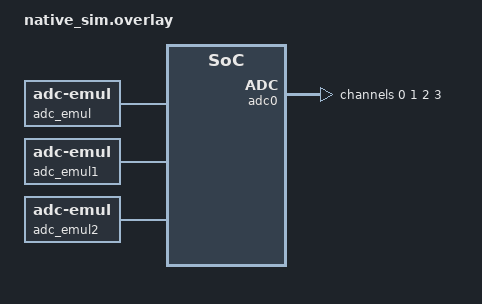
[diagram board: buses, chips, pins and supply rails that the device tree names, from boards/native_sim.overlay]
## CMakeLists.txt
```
cmake_minimum_required(VERSION 3.20.0)

set(RT_CORE_TEST_ADC_EMUL ON)
include(${CMAKE_CURRENT_SOURCE_DIR}/../../../rt_core_test.cmake)

find_package(Zephyr REQUIRED HINTS $ENV{ZEPHYR_BASE})
project(functional_subsys_adc)

file(GLOB_RECURSE TEST_SOURCES src/*.c src/*.cpp)

target_sources(app PRIVATE ${TEST_SOURCES})
```

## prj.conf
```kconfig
CONFIG_ZTEST=y

# Language and Compiler
CONFIG_CPP=y
CONFIG_PICOLIBC=y
CONFIG_STD_CPP23=y
CONFIG_REQUIRES_FULL_LIBCPP=y
CONFIG_CPP_EXCEPTIONS=y
CONFIG_CPP_RTTI=y

# Logging And Debugging
CONFIG_THREAD_ANALYZER=y
CONFIG_THREAD_NAME=y
CONFIG_SYS_HEAP_RUNTIME_STATS=y
CONFIG_TIMING_FUNCTIONS=y

# Memory
CONFIG_HEAP_MEM_POOL_SIZE=100000

# C++ exception unwinding needs considerably more stack than the ztest defaults.
CONFIG_MAIN_STACK_SIZE=8192
CONFIG_ZTEST_STACK_SIZE=8192

# Logging And Debugging
CONFIG_LOG=y

# Random Number Generator
CONFIG_TEST_RANDOM_GENERATOR=y
CONFIG_TIMER_RANDOM_GENERATOR=y

# Hardware
CONFIG_ADC=y

CONFIG_EERIE_LEAP_RT_CORE=y
CONFIG_EERIE_LEAP_CONFIGURATION=y
CONFIG_EERIE_LEAP_ADC=y
CONFIG_EERIE_LEAP_DEVICE_TREE=y
```

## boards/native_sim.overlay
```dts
/ {
	aliases {
		adc0 = &adc_emul;
		adc1 = &adc_emul1;
		adc2 = &adc_emul2;
	};

	adc_emul: adc {
		compatible = "zephyr,adc-emul";
		nchannels = <4>;
		ref-internal-mv = <3300>;
		ref-external1-mv = <5000>;
		#io-channel-cells = <1>;
		status = "okay";
	};

	adc_emul1: adc1 {
		compatible = "zephyr,adc-emul";
		nchannels = <2>;
		ref-internal-mv = <3300>;
		ref-external1-mv = <5000>;
		#io-channel-cells = <1>;
		status = "okay";
	};

	/* Its only channel states no resolution, so Initialize() must reject this device. */
	adc_emul2: adc2 {
		compatible = "zephyr,adc-emul";
		nchannels = <1>;
		ref-internal-mv = <3300>;
		ref-external1-mv = <5000>;
		#io-channel-cells = <1>;
		status = "okay";
	};
};

&adc0 {
	#address-cells = <1>;
	#size-cells = <0>;

	channel@0 {
		reg = <0>;
		zephyr,gain = "ADC_GAIN_1";
		zephyr,reference = "ADC_REF_INTERNAL";
		zephyr,vref-mv = <3300>;
		zephyr,acquisition-time = <ADC_ACQ_TIME_DEFAULT>;
		zephyr,resolution = <12>;
	};

	channel@1 {
		reg = <1>;
		zephyr,gain = "ADC_GAIN_1";
		zephyr,reference = "ADC_REF_INTERNAL";
		zephyr,vref-mv = <3300>;
		zephyr,acquisition-time = <ADC_ACQ_TIME_DEFAULT>;
		zephyr,resolution = <12>;
	};

	channel@2 {
		reg = <2>;
		zephyr,gain = "ADC_GAIN_1";
		zephyr,reference = "ADC_REF_INTERNAL";
		zephyr,vref-mv = <3300>;
		zephyr,acquisition-time = <ADC_ACQ_TIME_DEFAULT>;
		zephyr,resolution = <12>;
	};

	channel@3 {
		reg = <3>;
		zephyr,gain = "ADC_GAIN_1";
		zephyr,reference = "ADC_REF_INTERNAL";
		zephyr,vref-mv = <3300>;
		zephyr,acquisition-time = <ADC_ACQ_TIME_DEFAULT>;
		zephyr,resolution = <12>;
	};
};

&adc_emul1 {
	#address-cells = <1>;
	#size-cells = <0>;

	channel@0 {
		reg = <0>;
		zephyr,gain = "ADC_GAIN_1";
		zephyr,reference = "ADC_REF_INTERNAL";
		zephyr,vref-mv = <3300>;
		zephyr,acquisition-time = <ADC_ACQ_TIME_DEFAULT>;
		zephyr,resolution = <12>;
	};

	channel@1 {
		reg = <1>;
		zephyr,gain = "ADC_GAIN_1";
		zephyr,reference = "ADC_REF_INTERNAL";
		zephyr,vref-mv = <3300>;
		zephyr,acquisition-time = <ADC_ACQ_TIME_DEFAULT>;
		zephyr,resolution = <12>;
	};
};

&adc_emul2 {
	#address-cells = <1>;
	#size-cells = <0>;

	channel@0 {
		reg = <0>;
		zephyr,gain = "ADC_GAIN_1";
		zephyr,reference = "ADC_REF_INTERNAL";
		zephyr,vref-mv = <3300>;
		zephyr,acquisition-time = <ADC_ACQ_TIME_DEFAULT>;
	};
};
```

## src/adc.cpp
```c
#include <cerrno>
#include <memory>
#include <optional>
#include <unordered_set>
#include <zephyr/drivers/adc/adc_emul.h>
#include <zephyr/kernel.h>
#include <zephyr/ztest.h>

#include "subsys/adc/adc_emulator.h"
#include "subsys/device_tree/dt_adc.h"

#include "emulator_support.h"

using namespace eerie_leap::subsys::device_tree;
using namespace eerie_leap::subsys::adc;
using namespace emulator_support;

namespace {

constexpr AdcCapabilities NO_CAPABILITIES{ .burst = false, .multi_channel = false, .us_per_conversion = 0 };
constexpr AdcCapabilities BURST_ONLY{ .burst = true, .multi_channel = false, .us_per_conversion = 0 };

// The three ways Adc::Sample() reaches the driver; nullopt keeps what the probe found (burst + multi-channel).
struct SamplingPath {
    const char* name{};
    std::optional<AdcCapabilities> capabilities;
};

constexpr SamplingPath SAMPLING_PATHS[] = { { .name = "multi-channel scan", .capabilities = std::nullopt },
    { .name = "single-channel bursts", .capabilities = BURST_ONLY },
    { .name = "per-sample loop", .capabilities = NO_CAPABILITIES } };

std::shared_ptr<AdcEmulator> MakeEmulatorOn(const SamplingPath& path) {
    auto adc = MakeEmulator(0);
    if(path.capabilities.has_value())
        adc->OverrideCapabilities(*path.capabilities);

    return adc;
}

constexpr uint32_t SLOW_CONVERSION_US = 50;

// k_busy_wait() advances native_sim's simulated clock too, so the probe measures it everywhere.
int SlowConstant(const device*, unsigned int, void*, uint32_t* result) {
    k_busy_wait(SLOW_CONVERSION_US);
    *result = 1000;
    return 0;
}

// The first conversion stalls and times out; every later one is immediate.
int SlowTimeoutThenConstant(const device*, unsigned int, void* data, uint32_t* result) {
    auto* calls = static_cast<int*>(data);
    if((*calls)++ == 0) {
        k_busy_wait(10 * SLOW_CONVERSION_US);
        return -ETIMEDOUT;
    }

    *result = 1000;
    return 0;
}

} // namespace

ZTEST_SUITE(adc, NULL, NULL, NULL, NULL, NULL);

ZTEST(adc, test_Initialize_probes_the_driver) {
    const auto adc = MakeEmulator(0);

    zassert_equal(adc->GetChannelCount(), FIRST_ADC_CHANNELS);
    zassert_equal(adc->GetStats().driver_calls, 3, "one timed read, one burst probe, one two-channel probe");
    zassert_equal(adc->GetStats().requests, 0);
    zassert_equal(adc->GetStats().errors, 0);
}

ZTEST(adc, test_capabilities_are_reported) {
    const auto adc = MakeEmulator(0);
    const auto capabilities = adc->GetCapabilities();

    zassert_true(capabilities.burst, "adc_emul accepts extra_samplings");
    zassert_true(capabilities.multi_channel, "adc_emul accepts a multi-channel mask");

    const auto single_channel = MakeEmulator(2, false);
    zassert_equal(single_channel->GetChannelCount(), 1);
}

ZTEST(adc, test_probe_times_its_first_conversion) {
    const auto adc = MakeEmulator(0, false);
    adc->SetExternallyDriven(0);
    zassert_ok(adc_emul_value_func_set(Dev(0), 0, SlowConstant, nullptr));

    zassert_true(adc->Initialize());
    zassert_true(
        adc->GetCapabilities().us_per_conversion >= SLOW_CONVERSION_US, "measured %u us",
        adc->GetCapabilities().us_per_conversion
    );
}

ZTEST(adc, test_probe_times_only_the_successful_attempt) {
    const auto adc = MakeEmulator(0, false);

    int calls = 0;
    adc->SetExternallyDriven(0);
    zassert_ok(adc_emul_value_func_set(Dev(0), 0, SlowTimeoutThenConstant, &calls));

    zassert_true(adc->Initialize(), "a timeout of the first attempt is retried");
    zassert_equal(adc->GetStats().timeouts, 1);
    zassert_true(
        adc->GetCapabilities().us_per_conversion < 10 * SLOW_CONVERSION_US,
        "the timed-out attempt is not part of the %u us", adc->GetCapabilities().us_per_conversion
    );
}

ZTEST(adc, test_Initialize_rejects_duplicate_channel_ids) {
    ResetEmulator();

    auto info = DtAdc::Get().value().at(0);
    info.channel_configs[1].channel_id = info.channel_configs[0].channel_id;

    AdcEmulator adc(info);
    zassert_false(adc.Initialize(), "two channels on one id would leave one of them unconverted");
}

ZTEST(adc, test_Initialize_rejects_differential_channels) {
    ResetEmulator();

    auto info = DtAdc::Get().value().at(0);
    info.channel_configs[0].differential = 1;

    AdcEmulator adc(info);
    zassert_false(adc.Initialize(), "signed samples cannot be decoded");
}

ZTEST(adc, test_Initialize_takes_the_reference_from_the_driver) {
    ResetEmulator();

    // As if the overlay stated no zephyr,vref-mv: adc_emul knows ref-external1-mv = 5000.
    auto info = DtAdc::Get().value().at(1);
    info.channel_configs[0].reference = ADC_REF_EXTERNAL1;
    info.references_mv[0] = 0;

    AdcEmulator adc(info);
    zassert_true(adc.Initialize());
    DriveConstant(adc, 1, 0, 2500);

    const uint8_t channels[1] = { 0 };
    AdcSample results[1];
    const AdcSampleRequest request{ .channels = channels, .results = results, .samples = 10 };
    adc.Sample(request);

    zassert_equal(results[0].error, AdcError::NONE);
    zassert_within(results[0].volts, 2.5F, 2.0F * 5.0F / 4096.0F, "read %f V", static_cast<double>(results[0].volts));
}

ZTEST(adc, test_Initialize_rejects_resolution_zero) {
    ResetEmulator();

    auto adcs = DtAdc::Get().value();
    zassert_equal(adcs.size(), DT_ADC_COUNT);
    zassert_equal(adcs[2].resolutions.at(0), 0, "the third device's channel states no resolution");

    AdcEmulator first(adcs[0]);
    AdcEmulator second(adcs[1]);
    AdcEmulator third(adcs[2]);

    zassert_true(first.Initialize());
    zassert_true(second.Initialize());
    zassert_false(third.Initialize(), "a channel without a resolution cannot be converted");
}

ZTEST(adc, test_Sample_reads_every_requested_channel) {
    const auto adc = MakeEmulator(0);
    for(int channel = 0; channel < FIRST_ADC_CHANNELS; channel++)
        DriveConstant(*adc, 0, channel, 500 * (channel + 1));

    const uint8_t channels[FIRST_ADC_CHANNELS] = { 0, 1, 2, 3 };
    AdcSample results[FIRST_ADC_CHANNELS];
    const AdcSampleRequest request{ .channels = channels, .results = results, .samples = 100 };

    const auto before = adc->GetStats();
    adc->Sample(request);
    const auto after = adc->GetStats();

    for(int channel = 0; channel < FIRST_ADC_CHANNELS; channel++) {
        zassert_equal(results[channel].error, AdcError::NONE, "channel %d", channel);
        zassert_equal(results[channel].errno_value, 0);
        zassert_within(
            results[channel].volts, 0.5F * (channel + 1), EMUL_TOLERANCE, "channel %d read %f V", channel,
            static_cast<double>(results[channel].volts)
        );
    }

    zassert_equal(after.requests - before.requests, 1);
    zassert_equal(after.conversions - before.conversions, 100 * FIRST_ADC_CHANNELS);
    zassert_equal(after.errors, 0);
}

ZTEST(adc, test_Sample_reads_a_subset_in_request_order) {
    const auto adc = MakeEmulator(0);
    DriveConstant(*adc, 0, 1, 1000);
    DriveConstant(*adc, 0, 3, 3000);

    const uint8_t channels[2] = { 1, 3 };
    AdcSample results[2];
    const AdcSampleRequest request{ .channels = channels, .results = results, .samples = 10 };
    adc->Sample(request);

    zassert_equal(results[0].error, AdcError::NONE);
    zassert_equal(results[1].error, AdcError::NONE);
    zassert_within(results[0].volts, 1.0F, EMUL_TOLERANCE);
    zassert_within(results[1].volts, 3.0F, EMUL_TOLERANCE);
}

ZTEST(adc, test_Sample_reaches_the_second_adc) {
    const auto adc = MakeEmulator(1);
    DriveConstant(*adc, 1, 1, 2200);

    const uint8_t channels[1] = { 1 };
    AdcSample results[1];
    const AdcSampleRequest request{ .channels = channels, .results = results, .samples = 1 };
    adc->Sample(request);

    zassert_equal(adc->GetChannelCount(), SECOND_ADC_CHANNELS);
    zassert_equal(results[0].error, AdcError::NONE);
    zassert_within(results[0].volts, 2.2F, EMUL_TOLERANCE);
}

ZTEST(adc, test_Sample_varies_with_the_random_stimulus) {
    const auto adc = MakeEmulator(0);

    const uint8_t channels[1] = { 2 };
    AdcSample results[1];
    const AdcSampleRequest request{ .channels = channels, .results = results, .samples = 10 };

    std::unordered_set<float> readings;
    for(int i = 0; i < 100; i++) {
        adc->Sample(request);

        zassert_equal(results[0].error, AdcError::NONE);
        zassert_between_inclusive(results[0].volts, 0.0F, 3.3F);
        readings.insert(results[0].volts);
    }

    // The emulator quantises to whole millivolts, so a handful of identical means
    // is expected; what matters is that consecutive requests keep changing.
    zassert_true(readings.size() >= 90, "expected varying readings, got %zu distinct values", readings.size());
}

ZTEST(adc, test_Sample_reports_a_driver_error_per_channel) {
    constexpr uint16_t K_SAMPLES = 40;

    for(const auto& path : SAMPLING_PATHS) {
        const auto adc = MakeEmulatorOn(path);
        DriveConstant(*adc, 0, 0, 1000);
        DriveConstant(*adc, 0, 2, 2000);

        CountedFailure always{ .failures_left = INT32_MAX, .err = -EIO, .mv = 0 };
        adc->SetExternallyDriven(1);
        zassert_ok(adc_emul_value_func_set(Dev(0), 1, FailThenSucceed, &always));

        const uint8_t channels[3] = { 0, 1, 2 };
        AdcSample results[3];
        const AdcSampleRequest request{ .channels = channels, .results = results, .samples = K_SAMPLES };

        const auto before = adc->GetStats();
        adc->Sample(request);
        const auto after = adc->GetStats();

        zassert_equal(results[0].error, AdcError::NONE, "%s", path.name);
        zassert_within(results[0].volts, 1.0F, EMUL_TOLERANCE, "%s", path.name);
        zassert_equal(results[1].error, AdcError::DRIVER, "%s", path.name);
        zassert_equal(results[1].errno_value, -EIO, "%s", path.name);
        zassert_equal(results[2].error, AdcError::NONE, "%s", path.name);
        zassert_within(results[2].volts, 2.0F, EMUL_TOLERANCE, "%s", path.name);

        zassert_equal(after.errors - before.errors, 1, "%s", path.name);
        zassert_equal(after.last_errno, -EIO, "%s", path.name);
        zassert_equal(after.timeouts, before.timeouts, "%s: -EIO is not a timeout", path.name);
        zassert_equal(
            after.conversions - before.conversions, 2 * K_SAMPLES,
            "%s: only the valid channels' conversions are counted", path.name
        );
    }
}

ZTEST(adc, test_Sample_resumes_a_failed_scan_per_channel) {
    constexpr uint16_t CHUNK = CONFIG_EERIE_LEAP_ADC_BURST_CHUNK;
    constexpr uint16_t K_SAMPLES = 100;
    static_assert(K_SAMPLES > CHUNK && K_SAMPLES <= 2 * CHUNK, "the scan fails in its second chunk");

    const auto adc = MakeEmulator(0);
    zassert_true(adc->GetCapabilities().burst && adc->GetCapabilities().multi_channel);
    DriveConstant(*adc, 0, 0, 1000);
    DriveConstant(*adc, 0, 2, 2000);

    // Channel 1 converts the whole first chunk, then fails.
    CountedSuccess first_chunk{ .successes_left = CHUNK, .err = -EIO, .mv = 1500 };
    adc->SetExternallyDriven(1);
    zassert_ok(adc_emul_value_func_set(Dev(0), 1, SucceedThenFail, &first_chunk));

    const uint8_t channels[3] = { 0, 1, 2 };
    AdcSample results[3];
    const AdcSampleRequest request{ .channels = channels, .results = results, .samples = K_SAMPLES };

    const auto before = adc->GetStats();
    adc->Sample(request);
    const auto after = adc->GetStats();

    zassert_equal(results[0].error, AdcError::NONE);
    zassert_within(results[0].volts, 1.0F, EMUL_TOLERANCE, "read %f V", static_cast<double>(results[0].volts));
    zassert_equal(results[1].error, AdcError::DRIVER);
    zassert_equal(results[1].errno_value, -EIO);
    zassert_equal(results[2].error, AdcError::NONE);
    zassert_within(results[2].volts, 2.0F, EMUL_TOLERANCE, "read %f V", static_cast<double>(results[2].volts));

    zassert_equal(
        after.driver_calls - before.driver_calls, 5,
        "two scan chunks, then one burst per channel for the outstanding samplings"
    );
    zassert_equal(
        after.conversions - before.conversions, 3 * CHUNK + 2 * (K_SAMPLES - CHUNK),
        "the completed chunk is kept, not sampled again"
    );
    zassert_equal(after.errors - before.errors, 1);
}

ZTEST(adc, test_Sample_times_out_every_channel_of_a_scan) {
    const auto adc = MakeEmulator(0);
    zassert_true(adc->GetCapabilities().burst && adc->GetCapabilities().multi_channel);

    CountedFailure always{ .failures_left = INT32_MAX, .err = -ETIMEDOUT, .mv = 0 };
    adc->SetExternallyDriven(0);
    zassert_ok(adc_emul_value_func_set(Dev(0), 0, FailThenSucceed, &always));

    const uint8_t channels[3] = { 0, 1, 2 };
    AdcSample results[3];
    const AdcSampleRequest request{ .channels = channels, .results = results, .samples = 40 };

    const auto before = adc->GetStats();
    adc->Sample(request);
    const auto after = adc->GetStats();

    for(int i = 0; i < 3; i++) {
        zassert_equal(results[i].error, AdcError::TIMEOUT, "channel %d", i);
        zassert_equal(results[i].errno_value, -ETIMEDOUT, "channel %d", i);
    }

    zassert_equal(always.calls, 3);
    zassert_equal(after.driver_calls - before.driver_calls, 3, "the scan's retries only, no per-channel fallback");
    zassert_equal(after.timeouts - before.timeouts, 3);
    zassert_equal(after.errors - before.errors, 3);
    zassert_equal(after.conversions, before.conversions);
}

ZTEST(adc, test_Sample_retries_timeouts_then_fails) {
    for(const auto& path : SAMPLING_PATHS) {
        const auto adc = MakeEmulatorOn(path);
        // The four good conversions take one burst, or one call each on the loop.
        const uint32_t good_calls = adc->GetCapabilities().burst ? 1 : 4;

        CountedFailure twice{ .failures_left = 2, .err = -ETIMEDOUT, .mv = 1650 };
        adc->SetExternallyDriven(0);
        zassert_ok(adc_emul_value_func_set(Dev(0), 0, FailThenSucceed, &twice));

        const uint8_t channels[1] = { 0 };
        AdcSample results[1];
        const AdcSampleRequest request{ .channels = channels, .results = results, .samples = 4 };

        auto before = adc->GetStats();
        adc->Sample(request);
        auto after = adc->GetStats();

        zassert_equal(results[0].error, AdcError::NONE, "%s: two timeouts are retried", path.name);
        zassert_within(results[0].volts, 1.65F, EMUL_TOLERANCE, "%s", path.name);
        zassert_equal(twice.calls, 6, "%s: two failed and four good conversions", path.name);
        zassert_equal(after.timeouts - before.timeouts, 2, "%s", path.name);
        zassert_equal(after.driver_calls - before.driver_calls, 2 + good_calls, "%s", path.name);
        zassert_equal(after.errors - before.errors, 0, "%s", path.name);

        CountedFailure thrice{ .failures_left = 3, .err = -ETIMEDOUT, .mv = 1650 };
        zassert_ok(adc_emul_value_func_set(Dev(0), 0, FailThenSucceed, &thrice));

        before = adc->GetStats();
        adc->Sample(request);
        after = adc->GetStats();

        zassert_equal(results[0].error, AdcError::TIMEOUT, "%s: a third timeout fails the channel", path.name);
        zassert_equal(results[0].errno_value, -ETIMEDOUT, "%s", path.name);
        zassert_equal(thrice.calls, 3, "%s: sampling of the channel stops at the third timeout", path.name);
        zassert_equal(after.driver_calls - before.driver_calls, 3, "%s", path.name);
        zassert_equal(after.timeouts - before.timeouts, 3, "%s", path.name);
        zassert_equal(after.errors - before.errors, 1, "%s", path.name);
        zassert_equal(after.last_errno, -ETIMEDOUT, "%s", path.name);
    }
}

ZTEST(adc, test_Sample_discards_a_partial_burst) {
    constexpr uint16_t K_SAMPLES = 64;
    static_assert(CONFIG_EERIE_LEAP_ADC_BURST_CHUNK >= K_SAMPLES, "one burst covers the request");

    const auto adc = MakeEmulator(0);
    adc->OverrideCapabilities(BURST_ONLY);

    // The tenth conversion of the burst fails after nine have reached the buffer.
    CountedSuccess nine{ .successes_left = 9, .err = -EIO, .mv = 1000 };
    adc->SetExternallyDriven(2);
    zassert_ok(adc_emul_value_func_set(Dev(0), 2, SucceedThenFail, &nine));

    const uint8_t channels[1] = { 2 };
    AdcSample results[1];
    const AdcSampleRequest request{ .channels = channels, .results = results, .samples = K_SAMPLES };

    const auto before = adc->GetStats();
    adc->Sample(request);
    const auto after = adc->GetStats();

    zassert_equal(results[0].error, AdcError::DRIVER);
    zassert_equal(results[0].errno_value, -EIO);
    zassert_equal(nine.calls, 10);
    zassert_equal(after.driver_calls - before.driver_calls, 1);
    zassert_equal(after.conversions, before.conversions, "nothing of the failed burst reaches an accumulator");
}

ZTEST(adc, test_Sample_keeps_fractional_lsb) {
    const auto adc = MakeEmulator(0);

    int calls = 0;
    adc->SetExternallyDriven(2);
    zassert_ok(adc_emul_raw_value_func_set(Dev(0), 2, AlternatingRaw, &calls));

    const uint8_t channels[1] = { 2 };
    AdcSample results[1];
    const AdcSampleRequest request{ .channels = channels, .results = results, .samples = 100 };
    adc->Sample(request);

    zassert_equal(results[0].error, AdcError::NONE);
    zassert_equal(calls, 100);
    zassert_within(
        results[0].volts, 100.5F * LSB_VOLTS, 0.1F * LSB_VOLTS, "mean of 100/101 LSB read as %f V",
        static_cast<double>(results[0].volts)
    );
}

ZTEST(adc, test_Sample_uses_one_driver_call_per_chunk) {
    auto adc = MakeEmulator(0);
    zassert_true(adc->GetCapabilities().burst && adc->GetCapabilities().multi_channel);

    int calls_0 = 0;
    int calls_1 = 0;
    adc->SetExternallyDriven(0);
    adc->SetExternallyDriven(1);
    zassert_ok(adc_emul_value_func_set(Dev(0), 0, CountingConstant, &calls_0));
    zassert_ok(adc_emul_value_func_set(Dev(0), 1, CountingConstant, &calls_1));

    constexpr uint16_t K_SAMPLES = 100;
    constexpr uint32_t CHUNKS = (K_SAMPLES + CONFIG_EERIE_LEAP_ADC_BURST_CHUNK - 1) / CONFIG_EERIE_LEAP_ADC_BURST_CHUNK;
    static_assert(CHUNKS == 2, "the test counts chunks of 64");

    const uint8_t channels[2] = { 0, 1 };
    AdcSample results[2];
    AdcSampleRequest request{ .channels = channels, .results = results, .samples = K_SAMPLES };

    const auto expect_sampled = [&](uint32_t driver_calls, const char* path) {
        calls_0 = 0;
        calls_1 = 0;

        const auto before = adc->GetStats();
        adc->Sample(request);
        const auto after = adc->GetStats();

        zassert_equal(after.driver_calls - before.driver_calls, driver_calls, "%s: driver calls", path);
        zassert_equal(after.conversions - before.conversions, 2 * K_SAMPLES, "%s: conversions", path);
        zassert_equal(calls_0, static_cast<int>(K_SAMPLES), "%s: channel 0 conversions", path);
        zassert_equal(calls_1, static_cast<int>(K_SAMPLES), "%s: channel 1 conversions", path);
        zassert_equal(results[0].error, AdcError::NONE);
        zassert_equal(results[1].error, AdcError::NONE);
        zassert_within(results[0].volts, 1.0F, EMUL_TOLERANCE);
        zassert_within(results[1].volts, 1.0F, EMUL_TOLERANCE);
    };

    expect_sampled(CHUNKS, "multi-channel scan");

    adc->OverrideCapabilities(BURST_ONLY);
    expect_sampled(2 * CHUNKS, "single-channel bursts");

    adc->OverrideCapabilities(NO_CAPABILITIES);
    expect_sampled(2 * K_SAMPLES, "per-sample loop");
}

ZTEST(adc, test_Sample_clamps_samples_to_at_least_one) {
    const auto adc = MakeEmulator(0);
    DriveConstant(*adc, 0, 0, 1000);

    const uint8_t channels[1] = { 0 };
    AdcSample results[1];
    const AdcSampleRequest request{ .channels = channels, .results = results, .samples = 0 };

    const auto before = adc->GetStats();
    adc->Sample(request);
    const auto after = adc->GetStats();

    zassert_equal(results[0].error, AdcError::NONE, "zero samples must not divide by zero");
    zassert_within(results[0].volts, 1.0F, EMUL_TOLERANCE);
    zassert_equal(after.conversions - before.conversions, 1);
}

ZTEST(adc, test_Sample_clamps_samples_to_the_configured_maximum) {
    const auto adc = MakeEmulator(0);
    DriveConstant(*adc, 0, 0, 1000);

    const uint8_t channels[1] = { 0 };
    AdcSample results[1];
    const AdcSampleRequest request{ .channels = channels, .results = results, .samples = UINT16_MAX };

    const auto before = adc->GetStats();
    adc->Sample(request);
    const auto after = adc->GetStats();

    zassert_equal(results[0].error, AdcError::NONE);
    zassert_within(results[0].volts, 1.0F, EMUL_TOLERANCE);
    zassert_equal(after.conversions - before.conversions, CONFIG_EERIE_LEAP_ADC_SAMPLES_MAX);
}

ZTEST(adc, test_Sample_accepts_an_empty_request) {
    const auto adc = MakeEmulator(0);

    const auto before = adc->GetStats();
    adc->Sample(AdcSampleRequest{});
    const auto after = adc->GetStats();

    zassert_equal(after.requests - before.requests, 1);
    zassert_equal(after.driver_calls, before.driver_calls);
    zassert_equal(after.errors, before.errors);
}

ZTEST(adc, test_Sample_marks_out_of_range_and_unordered_channels) {
    const auto adc = MakeEmulator(0);

    const uint8_t channels[4] = { 1, FIRST_ADC_CHANNELS, 100, 1 };
    AdcSample results[4];
    const AdcSampleRequest request{ .channels = channels, .results = results, .samples = 4 };

    const auto before = adc->GetStats();
    adc->Sample(request);
    const auto after = adc->GetStats();

    zassert_equal(results[0].error, AdcError::NONE, "a valid channel is still read");
    zassert_between_inclusive(results[0].volts, 0.0F, 3.3F);

    for(const int i : { 1, 2 }) {
        zassert_equal(results[i].error, AdcError::CHANNEL_OUT_OF_RANGE, "channel %u", channels[i]);
        zassert_equal(results[i].errno_value, -EINVAL);
    }

    zassert_equal(results[3].error, AdcError::CHANNEL_OUT_OF_RANGE, "channels must be ascending");
    zassert_equal(after.errors - before.errors, 3);
    zassert_equal(after.conversions - before.conversions, 4, "only the valid channel is converted");
}

ZTEST(adc, test_Sample_before_Initialize_fails_every_channel) {
    const auto adc = MakeEmulator(0, false);

    const uint8_t channels[2] = { 0, 1 };
    AdcSample results[2];
    const AdcSampleRequest request{ .channels = channels, .results = results, .samples = 1 };
    adc->Sample(request);

    for(auto& result : results) {
        zassert_equal(result.error, AdcError::DRIVER);
        zassert_equal(result.errno_value, -ENODEV);
    }

    zassert_equal(adc->GetStats().driver_calls, 0, "nothing reaches the driver");
}

ZTEST(adc, test_Sample_after_a_failed_probe_fails_every_channel) {
    const auto adc = MakeEmulator(0, false);

    CountedFailure always{ .failures_left = INT32_MAX, .err = -EIO, .mv = 0 };
    adc->SetExternallyDriven(0);
    zassert_ok(adc_emul_value_func_set(Dev(0), 0, FailThenSucceed, &always));
    zassert_false(adc->Initialize(), "the probe conversion fails");

    const uint8_t channels[2] = { 0, 1 };
    AdcSample results[2];
    const AdcSampleRequest request{ .channels = channels, .results = results, .samples = 1 };

    const auto before = adc->GetStats();
    adc->Sample(request);
    const auto after = adc->GetStats();

    for(auto& result : results) {
        zassert_equal(result.error, AdcError::DRIVER);
        zassert_equal(result.errno_value, -ENODEV);
    }

    zassert_equal(after.driver_calls, before.driver_calls, "nothing reaches the driver");
}

ZTEST(adc, test_Sample_handles_fewer_results_than_channels) {
    const auto adc = MakeEmulator(0);

    const uint8_t channels[3] = { 0, 1, 2 };
    AdcSample results[2];
    const AdcSampleRequest request{ .channels = channels, .results = results, .samples = 2 };

    const auto before = adc->GetStats();
    adc->Sample(request);
    const auto after = adc->GetStats();

    zassert_equal(results[0].error, AdcError::NONE);
    zassert_equal(results[1].error, AdcError::NONE);
    zassert_equal(after.conversions - before.conversions, 4, "only the channels with a result slot are read");
}
```

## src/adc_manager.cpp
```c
#include <memory>
#include <optional>
#include <stdexcept>
#include <vector>
#include <zephyr/ztest.h>

#include "subsys/adc/adc_emulator.h"
#include "subsys/adc/adc_factory.hpp"
#include "subsys/adc/adc_manager.h"
#include "subsys/adc/adc_simulator.h"
#include "subsys/device_tree/dt_adc.h"

#include "emulator_support.h"

using namespace eerie_leap::subsys::device_tree;
using namespace eerie_leap::subsys::adc;
using namespace emulator_support;

namespace {

std::optional<std::vector<AdcDTInfo>> no_dt_adcs;

// The two working emulated ADCs; the third device of the overlay only serves the resolution test.
std::shared_ptr<AdcManager> MakeEmulatorManager() {
    ResetEmulator();

    std::vector<std::shared_ptr<IAdc>> adcs{ std::make_shared<AdcEmulator>(DtAdc::Get().value().at(0)),
        std::make_shared<AdcEmulator>(DtAdc::Get().value().at(1)) };

    return std::make_shared<AdcManager>(std::move(adcs));
}

AdcEmulator& EmulatorAt(const AdcManager& manager, int index) {
    return *dynamic_cast<AdcEmulator*>(manager.GetAdcs()[index].get());
}

float SampleOne(const AdcChannelHandle& handle, uint16_t samples = 10) {
    const uint8_t channels[1] = { handle.local_channel };
    AdcSample results[1];
    const AdcSampleRequest request{ .channels = channels, .results = results, .samples = samples };

    handle.adc->Sample(request);
    zassert_equal(results[0].error, AdcError::NONE, "local channel %u", handle.local_channel);

    return results[0].volts;
}

} // namespace

ZTEST_SUITE(adc_manager, NULL, NULL, NULL, NULL, NULL);

ZTEST(adc_manager, test_counts_come_from_the_device_tree) {
    const auto manager = MakeEmulatorManager();

    zassert_equal(manager->GetAdcCount(), 2);
    zassert_equal(manager->GetChannelCount(), WORKING_CHANNEL_COUNT);
    zassert_equal(manager->GetAdcs().size(), 2);
    zassert_equal(manager->GetAdcs()[0]->GetChannelCount(), FIRST_ADC_CHANNELS);
    zassert_equal(manager->GetAdcs()[1]->GetChannelCount(), SECOND_ADC_CHANNELS);
}

ZTEST(adc_manager, test_Initialize_succeeds) {
    const auto manager = MakeEmulatorManager();

    zassert_true(manager->Initialize());

    for(const auto& adc : manager->GetAdcs())
        zassert_true(adc->GetCapabilities().burst, "every device was probed");
}

ZTEST(adc_manager, test_Initialize_fails_when_one_adc_is_rejected) {
    ResetEmulator();

    std::vector<std::shared_ptr<IAdc>> adcs;
    for(const auto& info : DtAdc::Get().value())
        adcs.push_back(std::make_shared<AdcEmulator>(info));

    AdcManager manager(std::move(adcs));

    zassert_equal(manager.GetAdcCount(), DT_ADC_COUNT);
    zassert_equal(manager.GetChannelCount(), DT_CHANNEL_COUNT);
    zassert_false(manager.Initialize(), "the third device has no resolution");
}

ZTEST(adc_manager, test_rejects_a_null_adc) {
    bool threw = false;
    try {
        const AdcManager manager({ std::make_shared<AdcSimulator>(), nullptr });
    } catch(const std::invalid_argument&) {
        threw = true;
    }

    zassert_true(threw);
}

ZTEST(adc_manager, test_Resolve_maps_global_to_local) {
    const auto manager = MakeEmulatorManager();
    zassert_true(manager->Initialize());

    for(int channel = 0; channel < WORKING_CHANNEL_COUNT; ++channel) {
        const auto handle = manager->Resolve(channel);

        zassert_not_null(handle.adc);
        zassert_equal(handle.adc, manager->GetAdcs()[channel / FIRST_ADC_CHANNELS].get(), "channel %d", channel);
        zassert_equal(handle.local_channel, channel % FIRST_ADC_CHANNELS, "channel %d", channel);
    }
}

ZTEST(adc_manager, test_Resolve_rejects_out_of_range_channels) {
    const auto manager = MakeEmulatorManager();
    zassert_true(manager->Initialize());

    for(const int channel : { -1, WORKING_CHANNEL_COUNT, 100 }) {
        bool threw = false;
        try {
            manager->Resolve(channel);
        } catch(const std::invalid_argument&) {
            threw = true;
        }

        zassert_true(threw, "channel %d should be rejected", channel);
    }
}

ZTEST(adc_manager, test_Sample_spans_multiple_adcs) {
    const auto manager = MakeEmulatorManager();
    zassert_true(manager->Initialize());

    const auto last_of_first = manager->Resolve(FIRST_ADC_CHANNELS - 1);
    const auto first_of_second = manager->Resolve(FIRST_ADC_CHANNELS);
    const auto second_of_second = manager->Resolve(FIRST_ADC_CHANNELS + 1);

    zassert_equal(last_of_first.local_channel, FIRST_ADC_CHANNELS - 1);
    zassert_equal(first_of_second.local_channel, 0, "the first channel of the second ADC must map to local index 0");
    zassert_equal(second_of_second.local_channel, 1);
    zassert_true(last_of_first.adc != first_of_second.adc, "channels must resolve to different ADCs");
    zassert_equal(first_of_second.adc, second_of_second.adc);

    // Distinct constants per device prove the stimulus and the conversion meet on the right device.
    DriveConstant(EmulatorAt(*manager, 0), 0, FIRST_ADC_CHANNELS - 1, 500);
    DriveConstant(EmulatorAt(*manager, 1), 1, 0, 1500);
    DriveConstant(EmulatorAt(*manager, 1), 1, 1, 2500);

    const float last_of_first_volts = SampleOne(last_of_first);
    const float first_of_second_volts = SampleOne(first_of_second);
    const float second_of_second_volts = SampleOne(second_of_second);

    zassert_within(last_of_first_volts, 0.5F, EMUL_TOLERANCE);
    zassert_within(first_of_second_volts, 1.5F, EMUL_TOLERANCE);
    zassert_within(second_of_second_volts, 2.5F, EMUL_TOLERANCE);
}

ZTEST(adc_manager, test_every_channel_reads_within_range) {
    const auto manager = MakeEmulatorManager();
    zassert_true(manager->Initialize());

    for(int channel = 0; channel < WORKING_CHANNEL_COUNT; ++channel) {
        const auto handle = manager->Resolve(channel);

        for(int i = 0; i < 20; ++i) {
            const float volts = SampleOne(handle);
            zassert_between_inclusive(volts, 0.0F, 3.3F, "channel %d out of range", channel);
        }
    }
}

ZTEST(adc_manager, test_every_channel_produces_varying_readings) {
    const auto manager = MakeEmulatorManager();
    zassert_true(manager->Initialize());

    // Channels on the second ADC only vary if the emulator stimulus reaches the
    // right device with the right local channel.
    for(int channel = 0; channel < WORKING_CHANNEL_COUNT; ++channel) {
        const auto handle = manager->Resolve(channel);

        const float first = SampleOne(handle);
        bool changed = false;
        for(int i = 0; i < 20 && !changed; ++i)
            changed = SampleOne(handle) != first;

        zassert_true(changed, "channel %d returned a constant value", channel);
    }
}

ZTEST_SUITE(adc_factory, NULL, NULL, NULL, NULL, NULL);

ZTEST(adc_factory, test_Create_uses_the_device_tree_when_available) {
    ResetEmulator();

    AdcFactory factory(DtAdc::Get);
    const auto manager = factory.Create();

    zassert_not_null(manager.get());
    zassert_equal(manager->GetAdcCount(), DT_ADC_COUNT, "one device per device-tree ADC");
    zassert_equal(manager->GetChannelCount(), DT_CHANNEL_COUNT);

    for(const auto& adc : manager->GetAdcs())
        zassert_not_null(dynamic_cast<AdcEmulator*>(adc.get()));
}

ZTEST(adc_factory, test_Create_falls_back_to_the_simulator) {
    AdcFactory factory([] -> std::optional<std::vector<AdcDTInfo>>& {
        return no_dt_adcs;
    });
    const auto manager = factory.Create();

    zassert_not_null(manager.get());
    zassert_equal(manager->GetAdcCount(), 1);
    zassert_not_null(dynamic_cast<AdcSimulator*>(manager->GetAdcs()[0].get()));
    zassert_true(manager->Initialize());
}

ZTEST(adc_factory, test_Create_falls_back_when_no_provider_is_given) {
    AdcFactory factory(nullptr);
    const auto manager = factory.Create();

    zassert_equal(manager->GetAdcCount(), 1);
    zassert_not_null(dynamic_cast<AdcSimulator*>(manager->GetAdcs()[0].get()));
}
```

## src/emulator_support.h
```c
#pragma once

#include <memory>
#include <zephyr/drivers/adc/adc_emul.h>
#include <zephyr/ztest.h>

#include "subsys/adc/adc_emulator.h"
#include "subsys/device_tree/dt_adc.h"

namespace emulator_support {

using eerie_leap::subsys::adc::AdcEmulator;
using eerie_leap::subsys::device_tree::DtAdc;

// The overlay declares three emulated ADCs: four channels, two channels, then one whose channel
// states no resolution and therefore never initializes.
constexpr int FIRST_ADC_CHANNELS = 4;
constexpr int SECOND_ADC_CHANNELS = 2;
constexpr int DT_ADC_COUNT = 3;
constexpr int DT_CHANNEL_COUNT = FIRST_ADC_CHANNELS + SECOND_ADC_CHANNELS + 1;
constexpr int WORKING_CHANNEL_COUNT = FIRST_ADC_CHANNELS + SECOND_ADC_CHANNELS;

// vref 3300 mV, gain 1, 12 bits.
constexpr float LSB_VOLTS = 3.3F / 4096.0F;
// adc_emul truncates mV × 4095 / 3300 to a whole count, so a constant input lands up to ~1.3 LSB low.
constexpr float EMUL_TOLERANCE = 2.0F * LSB_VOLTS;

inline const device* Dev(int index) {
    return DtAdc::Get().value().at(index).adc_device;
}

// The emulator keeps value functions across tests, so every channel goes back to a constant
// before a probe could call a finished test's function with a pointer into its dead stack frame.
inline void ResetEmulator() {
    DtAdc::Initialize();

    for(const auto& info : DtAdc::Get().value())
        for(const auto& channel_config : info.channel_configs)
            zassert_ok(adc_emul_const_value_set(info.adc_device, channel_config.channel_id, 0));
}

inline std::shared_ptr<AdcEmulator> MakeEmulator(int index, bool initialize = true) {
    ResetEmulator();

    auto adc = std::make_shared<AdcEmulator>(DtAdc::Get().value().at(index));
    if(initialize)
        zassert_true(adc->Initialize(), "ADC %d failed to initialize", index);

    return adc;
}

// Pins a channel to a constant that the emulator keeps instead of the random stimulus.
inline void DriveConstant(AdcEmulator& adc, int index, int channel, uint32_t mv) {
    adc.SetExternallyDriven(channel);
    zassert_ok(adc_emul_const_value_set(Dev(index), channel, mv));
}

struct CountedFailure {
    int failures_left{};
    int calls = 0;
    int err{};
    uint32_t mv{};
};

inline int FailThenSucceed(const device*, unsigned int, void* data, uint32_t* result) {
    auto* state = static_cast<CountedFailure*>(data);
    state->calls++;

    if(state->failures_left > 0) {
        state->failures_left--;
        return state->err;
    }

    *result = state->mv;
    return 0;
}

struct CountedSuccess {
    int successes_left{};
    int calls = 0;
    int err{};
    uint32_t mv{};
};

// Converts successes_left times, then fails every call.
inline int SucceedThenFail(const device*, unsigned int, void* data, uint32_t* result) {
    auto* state = static_cast<CountedSuccess*>(data);
    state->calls++;

    if(state->successes_left <= 0)
        return state->err;

    state->successes_left--;
    *result = state->mv;
    return 0;
}

inline int AlternatingRaw(const device*, unsigned int, void* data, uint32_t* result) {
    auto* calls = static_cast<int*>(data);
    *result = 100 + ((*calls)++ & 1);
    return 0;
}

inline int CountingConstant(const device*, unsigned int, void* data, uint32_t* result) {
    auto* calls = static_cast<int*>(data);
    (*calls)++;
    *result = 1000;
    return 0;
}

} // namespace emulator_support
```
